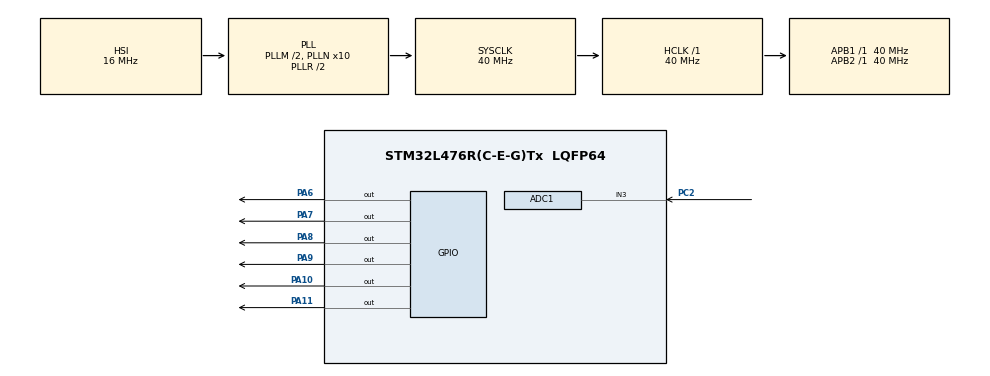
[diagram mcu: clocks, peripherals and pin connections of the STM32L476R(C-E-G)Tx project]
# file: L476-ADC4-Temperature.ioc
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ADC1.Channel-0\#ChannelRegularConversion=ADC_CHANNEL_3
ADC1.NbrOfConversionFlag=1
ADC1.OffsetNumber-0\#ChannelRegularConversion=ADC_OFFSET_NONE
ADC1.Overrun=ADC_OVR_DATA_OVERWRITTEN
ADC1.Rank-0\#ChannelRegularConversion=1
ADC1.SamplingTime-0\#ChannelRegularConversion=ADC_SAMPLETIME_47CYCLES_5
ADC1.master=1
Mcu.Family=STM32L4
Mcu.Name=STM32L476R(C-E-G)Tx
Mcu.Package=LQFP64
NVIC.PriorityGroup=NVIC_PRIORITYGROUP_4
PA10.Signal=GPIO_Output
PA11.Signal=GPIO_Output
PA6.Signal=GPIO_Output
PA7.Signal=GPIO_Output
PA8.Signal=GPIO_Output
PA9.Signal=GPIO_Output
PC2.Signal=ADCx_IN3
ProjectManager.HeapSize=0x200
ProjectManager.StackSize=0x400
ProjectManager.TargetToolchain=STM32CubeIDE
RCC.ADCFreq_Value=32000000
RCC.AHBFreq_Value=40000000
RCC.APB1Freq_Value=40000000
RCC.APB1TimFreq_Value=40000000
RCC.APB2Freq_Value=40000000
RCC.APB2TimFreq_Value=40000000
RCC.CortexFreq_Value=40000000
RCC.HCLKFreq_Value=40000000
RCC.HSE_VALUE=8000000
RCC.HSI_VALUE=16000000
RCC.LSE_VALUE=32768
RCC.MSI_VALUE=4000000
RCC.PLLM=2
RCC.PLLN=10
RCC.PLLSourceVirtual=RCC_PLLSOURCE_HSI
RCC.PREFETCH_ENABLE=1
RCC.SYSCLKFreq_VALUE=40000000
RCC.SYSCLKSource=RCC_SYSCLKSOURCE_PLLCLK
RCC.USBFreq_Value=32000000
RCC.VCOOutputFreq_Value=80000000
SH.ADCx_IN3.0=ADC1_IN3,IN3-Single-Ended
board=NUCLEO-L476RG

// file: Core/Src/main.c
/* USER CODE BEGIN Header */
/**
  ******************************************************************************
  * @file           : main.c
  * @brief          : Main program body
  ******************************************************************************
  * @attention
  *
  * Copyright (c) 2026 STMicroelectronics.
  * All rights reserved.
  *
  * This software is licensed under terms that can be found in the LICENSE file
  * in the root directory of this software component.
  * If no LICENSE file comes with this software, it is provided AS-IS.
  *
  ******************************************************************************
  */
/* USER CODE END Header */
#include "main.h"

/* USER CODE BEGIN Includes */
#include "lcd.h"
#include "stdio.h"
/* USER CODE END Includes */

ADC_HandleTypeDef hadc1;

void SystemClock_Config(void);
static void MX_GPIO_Init(void);
static void MX_ADC1_Init(void);

int main(void)
{

  /* MCU Configuration--------------------------------------------------------*/

  /* Reset of all peripherals, Initializes the Flash interface and the Systick. */
  HAL_Init();

  /* Configure the system clock */
  SystemClock_Config();

  /* Initialize all configured peripherals */
  MX_GPIO_Init();
  MX_ADC1_Init();

  /* Infinite loop */
  /* USER CODE BEGIN WHILE */
  char buff[16];
  float temperature;
  uint32_t adcResult;

  lcd_Init();
  lcd_Clear();
  lcd_Puts("Temperature :");
  HAL_ADC_Start(&hadc1);
  while (1)
  {
	  HAL_ADC_PollForConversion(&hadc1, 100);
	  adcResult=HAL_ADC_GetValue(&hadc1);
	  temperature=((float)adcResult)*3300.0/4095.0;
	  temperature=(temperature-500.0)/10;
	  lcd_Goto(0,1);
	  sprintf(buff, "%5.2f C", temperature);
	  lcd_Puts(buff);
	  HAL_Delay(1000);
    /* USER CODE END WHILE */

  }
}

void SystemClock_Config(void)
{
  RCC_OscInitTypeDef RCC_OscInitStruct = {0};
  RCC_ClkInitTypeDef RCC_ClkInitStruct = {0};

  /** Configure the main internal regulator output voltage
  */
  if (HAL_PWREx_ControlVoltageScaling(PWR_REGULATOR_VOLTAGE_SCALE1) != HAL_OK)
  {
    Error_Handler();
  }

  /** Initializes the RCC Oscillators according to the specified parameters
  * in the RCC_OscInitTypeDef structure.
  */
  RCC_OscInitStruct.OscillatorType = RCC_OSCILLATORTYPE_HSI;
  RCC_OscInitStruct.HSIState = RCC_HSI_ON;
  RCC_OscInitStruct.HSICalibrationValue = RCC_HSICALIBRATION_DEFAULT;
  RCC_OscInitStruct.PLL.PLLState = RCC_PLL_ON;
  RCC_OscInitStruct.PLL.PLLSource = RCC_PLLSOURCE_HSI;
  RCC_OscInitStruct.PLL.PLLM = 2;
  RCC_OscInitStruct.PLL.PLLN = 10;
  RCC_OscInitStruct.PLL.PLLP = RCC_PLLP_DIV7;
  RCC_OscInitStruct.PLL.PLLQ = RCC_PLLQ_DIV2;
  RCC_OscInitStruct.PLL.PLLR = RCC_PLLR_DIV2;
  if (HAL_RCC_OscConfig(&RCC_OscInitStruct) != HAL_OK)
  {
    Error_Handler();
  }

  /** Initializes the CPU, AHB and APB buses clocks
  */
  RCC_ClkInitStruct.ClockType = RCC_CLOCKTYPE_HCLK|RCC_CLOCKTYPE_SYSCLK
                              |RCC_CLOCKTYPE_PCLK1|RCC_CLOCKTYPE_PCLK2;
  RCC_ClkInitStruct.SYSCLKSource = RCC_SYSCLKSOURCE_PLLCLK;
  RCC_ClkInitStruct.AHBCLKDivider = RCC_SYSCLK_DIV1;
  RCC_ClkInitStruct.APB1CLKDivider = RCC_HCLK_DIV1;
  RCC_ClkInitStruct.APB2CLKDivider = RCC_HCLK_DIV1;

  if (HAL_RCC_ClockConfig(&RCC_ClkInitStruct, FLASH_LATENCY_2) != HAL_OK)
  {
    Error_Handler();
  }
}

static void MX_ADC1_Init(void)
{

  ADC_MultiModeTypeDef multimode = {0};
  ADC_ChannelConfTypeDef sConfig = {0};

  /** Common config
  */
  hadc1.Instance = ADC1;
  hadc1.Init.ClockPrescaler = ADC_CLOCK_ASYNC_DIV1;
  hadc1.Init.Resolution = ADC_RESOLUTION_12B;
  hadc1.Init.DataAlign = ADC_DATAALIGN_RIGHT;
  hadc1.Init.ScanConvMode = ADC_SCAN_DISABLE;
  hadc1.Init.EOCSelection = ADC_EOC_SINGLE_CONV;
  hadc1.Init.LowPowerAutoWait = DISABLE;
  hadc1.Init.ContinuousConvMode = DISABLE;
  hadc1.Init.NbrOfConversion = 1;
  hadc1.Init.DiscontinuousConvMode = DISABLE;
  hadc1.Init.ExternalTrigConv = ADC_SOFTWARE_START;
  hadc1.Init.ExternalTrigConvEdge = ADC_EXTERNALTRIGCONVEDGE_NONE;
  hadc1.Init.DMAContinuousRequests = DISABLE;
  hadc1.Init.Overrun = ADC_OVR_DATA_OVERWRITTEN;
  hadc1.Init.OversamplingMode = DISABLE;
  if (HAL_ADC_Init(&hadc1) != HAL_OK)
  {
    Error_Handler();
  }

  /** Configure the ADC multi-mode
  */
  multimode.Mode = ADC_MODE_INDEPENDENT;
  if (HAL_ADCEx_MultiModeConfigChannel(&hadc1, &multimode) != HAL_OK)
  {
    Error_Handler();
  }

  /** Configure Regular Channel
  */
  sConfig.Channel = ADC_CHANNEL_3;
  sConfig.Rank = ADC_REGULAR_RANK_1;
  sConfig.SamplingTime = ADC_SAMPLETIME_47CYCLES_5;
  sConfig.SingleDiff = ADC_SINGLE_ENDED;
  sConfig.OffsetNumber = ADC_OFFSET_NONE;
  sConfig.Offset = 0;
  if (HAL_ADC_ConfigChannel(&hadc1, &sConfig) != HAL_OK)
  {
    Error_Handler();
  }

}

static void MX_GPIO_Init(void)
{
  GPIO_InitTypeDef GPIO_InitStruct = {0};

  /* GPIO Ports Clock Enable */
  __HAL_RCC_GPIOC_CLK_ENABLE();
  __HAL_RCC_GPIOA_CLK_ENABLE();

  /*Configure GPIO pin Output Level */
  HAL_GPIO_WritePin(GPIOA, GPIO_PIN_6|GPIO_PIN_7|GPIO_PIN_8|GPIO_PIN_9
                          |GPIO_PIN_10|GPIO_PIN_11, GPIO_PIN_RESET);

  /*Configure GPIO pins : PA6 PA7 PA8 PA9
                           PA10 PA11 */
  GPIO_InitStruct.Pin = GPIO_PIN_6|GPIO_PIN_7|GPIO_PIN_8|GPIO_PIN_9
                          |GPIO_PIN_10|GPIO_PIN_11;
  GPIO_InitStruct.Mode = GPIO_MODE_OUTPUT_PP;
  GPIO_InitStruct.Pull = GPIO_NOPULL;
  GPIO_InitStruct.Speed = GPIO_SPEED_FREQ_LOW;
  HAL_GPIO_Init(GPIOA, &GPIO_InitStruct);

}

void Error_Handler(void)
{
  __disable_irq();
  while (1)
  {
  }
}
